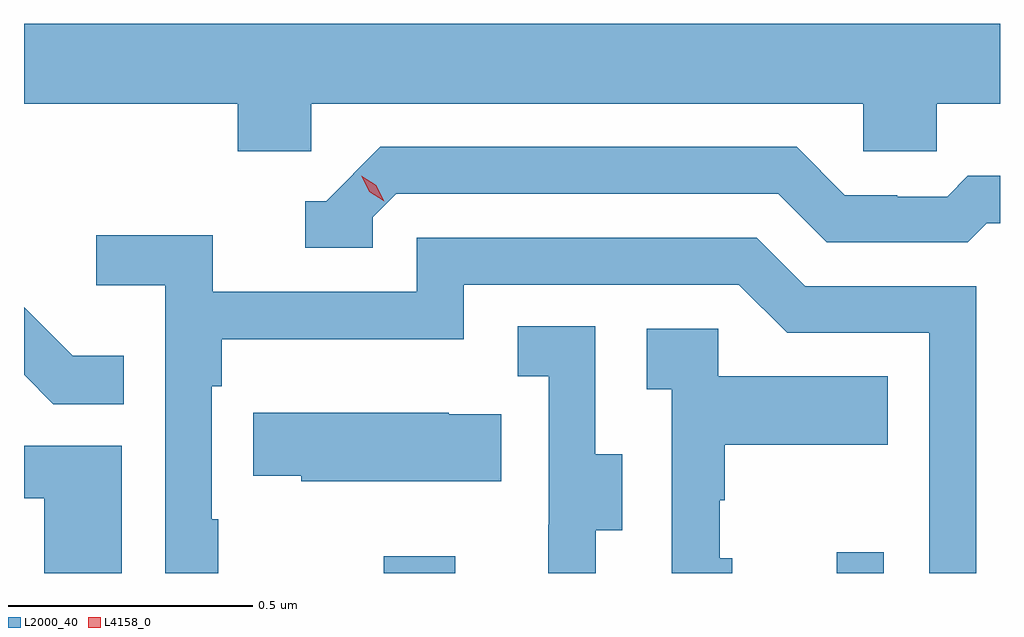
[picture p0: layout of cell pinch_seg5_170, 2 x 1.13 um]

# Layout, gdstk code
import gdstk
lib = gdstk.Library(unit=1e-6, precision=1e-09)
def R(c, l, rs):  # rectangles x0, y0, x1, y1
    for r in rs: c.add(gdstk.rectangle(r[:2], r[2:], *l))
def P(c, l, *ps):  # polygons
    for p in ps: c.add(gdstk.Polygon(p, *l))
L2000_40 = (2000, 40)
L4158_0 = (4158, 0)

pinch_seg5_170 = lib.new_cell('pinch_seg5_170')
R(pinch_seg5_170, L2000_40, [(1101.112,881.105,1101.259,881.14), (1102.04,881.105,1102.137,881.149)])
P(pinch_seg5_170, L2000_40, [(1100.964,882.068),(1102.095,882.068),(1102.095,881.97),(1102.245,881.97),(1102.245,882.068),(1102.375,882.068),(1102.375,882.232),(1100.375,882.232),(1100.375,882.068),(1100.813,882.068),(1100.813,881.97),(1100.964,881.97)],
  [(1101.09,881.835),(1101.138,881.883),(1101.921,881.883),(1102.02,881.784),(1102.309,881.784),(1102.348,881.823),(1102.375,881.823),(1102.375,881.92),(1102.309,881.92),(1102.267,881.877),(1102.164,881.877),(1102.164,881.88),(1102.057,881.88),(1101.958,881.979),(1101.105,881.979),(1100.994,881.868),(1100.951,881.868),(1100.951,881.772),(1101.09,881.772)],
  [(1100.773,881.216),(1100.76,881.216),(1100.76,881.489),(1100.78,881.489),(1100.78,881.585),(1101.276,881.585),(1101.276,881.697),(1101.84,881.697),(1101.939,881.598),(1102.23,881.598),(1102.23,881.105),(1102.326,881.105),(1102.326,881.694),(1101.976,881.694),(1101.877,881.793),(1101.18,881.793),(1101.18,881.682),(1100.762,881.682),(1100.762,881.798),(1100.523,881.798),(1100.523,881.696),(1100.664,881.696),(1100.664,881.105),(1100.773,881.105)],
  [(1100.579,881.551),(1100.475,881.551),(1100.375,881.651),(1100.375,881.512),(1100.435,881.452),(1100.579,881.452)],
  [(1101.547,881.194),(1101.601,881.194),(1101.601,881.349),(1101.546,881.349),(1101.546,881.612),(1101.387,881.612),(1101.387,881.509),(1101.45,881.509),(1101.45,881.205),(1101.449,881.205),(1101.449,881.105),(1101.547,881.105)],
  [(1101.826,881.136),(1101.801,881.136),(1101.801,881.255),(1101.811,881.255),(1101.811,881.369),(1102.145,881.369),(1102.145,881.509),(1101.798,881.509),(1101.798,881.607),(1101.651,881.607),(1101.651,881.483),(1101.702,881.483),(1101.702,881.105),(1101.826,881.105)],
  [(1101.353,881.431),(1101.245,881.431),(1101.245,881.434),(1100.845,881.434),(1100.845,881.305),(1100.943,881.305),(1100.943,881.294),(1101.353,881.294)],
  [(1100.575,881.367),(1100.375,881.367),(1100.375,881.259),(1100.417,881.259),(1100.417,881.105),(1100.575,881.105)])
P(pinch_seg5_170, L4158_0, [(1101.113,881.868),(1101.082,881.887),(1101.066,881.92),(1101.066,881.92),(1101.066,881.92),(1101.097,881.901),(1101.113,881.868),(1101.113,881.868)])

lib.write_gds('pinch_seg5_170.gds')
